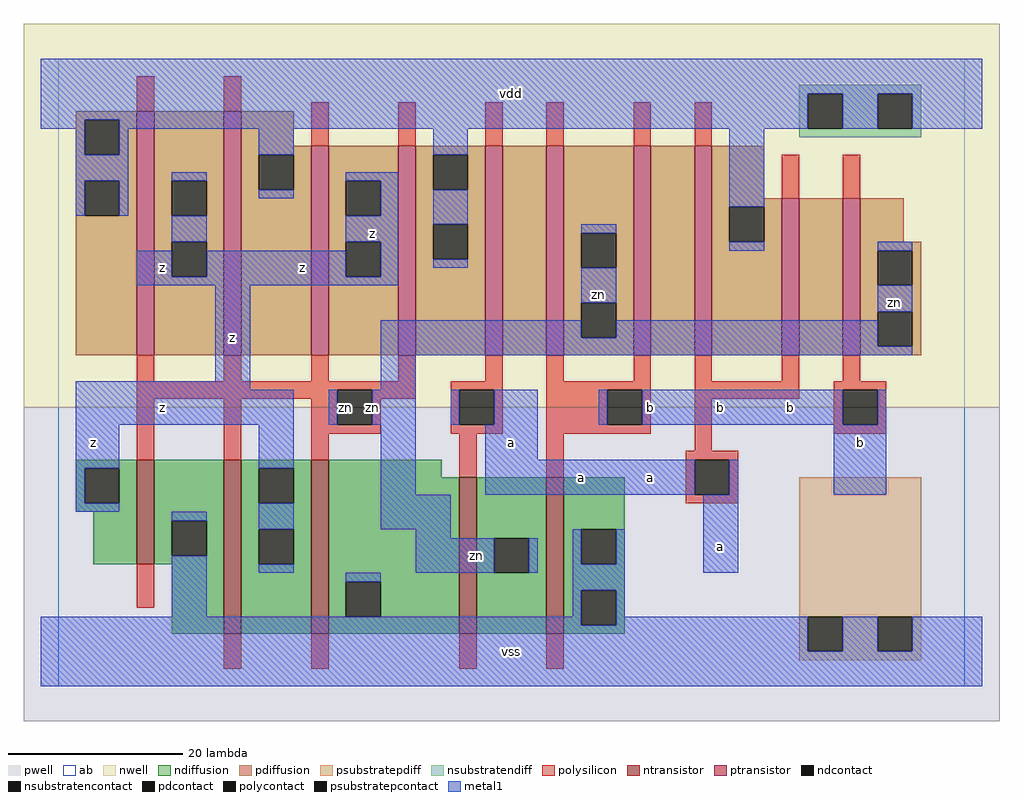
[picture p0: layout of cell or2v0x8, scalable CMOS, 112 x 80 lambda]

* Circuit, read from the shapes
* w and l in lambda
.subckt or2v0x8 a b vdd vss z zn
M1 vss zn z vss nfet w=12 l=2
M2 z zn vss vss nfet w=20 l=2 m=2
M3 zn a vss vss nfet w=18 l=2
M4 vss b zn vss nfet w=18 l=2
M5 z zn vdd vdd pfet w=28 l=2 m=2
M6 z zn vdd vdd pfet w=24 l=2 m=2
M7 n1 a vdd vdd pfet w=24 l=2
M8 zn b n1 vdd pfet w=24 l=2
M9 n2 b zn vdd pfet w=24 l=2
M10 vdd a n2 vdd pfet w=24 l=2
M11 n3 a vdd vdd pfet w=18 l=2
M12 zn b n3 vdd pfet w=18 l=2
.ends

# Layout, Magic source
magic
tech scmos
<< ab >>
rect 0 0 104 72
<< pwell >>
rect -4 -4 108 32
<< nwell >>
rect -4 32 108 76
<< polysilicon >>
rect 9 66 11 70
rect 19 66 21 70
rect 29 62 31 67
rect 39 62 41 67
rect 49 62 51 67
rect 56 62 58 67
rect 66 62 68 67
rect 73 62 75 67
rect 83 56 85 61
rect 90 56 92 61
rect 9 35 11 38
rect 19 35 21 38
rect 29 35 31 38
rect 39 35 41 38
rect 49 35 51 38
rect 9 34 41 35
rect 9 33 32 34
rect 9 26 11 33
rect 19 26 21 33
rect 29 30 32 33
rect 36 33 41 34
rect 45 34 51 35
rect 36 30 37 33
rect 29 29 37 30
rect 45 30 46 34
rect 50 30 51 34
rect 45 29 51 30
rect 56 35 58 38
rect 66 35 68 38
rect 56 34 68 35
rect 56 30 63 34
rect 67 30 68 34
rect 56 29 68 30
rect 73 35 75 38
rect 83 35 85 38
rect 90 35 92 38
rect 73 33 85 35
rect 89 34 95 35
rect 29 26 31 29
rect 9 9 11 14
rect 46 24 48 29
rect 56 24 58 29
rect 73 27 75 33
rect 89 30 90 34
rect 94 30 95 34
rect 89 29 95 30
rect 72 26 78 27
rect 72 22 73 26
rect 77 22 78 26
rect 72 21 78 22
rect 19 2 21 6
rect 29 2 31 6
rect 46 2 48 6
rect 56 2 58 6
<< ndiffusion >>
rect 2 25 9 26
rect 2 21 3 25
rect 7 21 9 25
rect 2 20 9 21
rect 4 14 9 20
rect 11 19 19 26
rect 11 15 13 19
rect 17 15 19 19
rect 11 14 19 15
rect 13 6 19 14
rect 21 25 29 26
rect 21 21 23 25
rect 27 21 29 25
rect 21 18 29 21
rect 21 14 23 18
rect 27 14 29 18
rect 21 6 29 14
rect 31 24 44 26
rect 31 12 46 24
rect 31 8 33 12
rect 37 8 46 12
rect 31 6 46 8
rect 48 17 56 24
rect 48 13 50 17
rect 54 13 56 17
rect 48 6 56 13
rect 58 18 65 24
rect 58 14 60 18
rect 64 14 65 18
rect 58 11 65 14
rect 58 7 60 11
rect 64 7 65 11
rect 58 6 65 7
<< pdiffusion >>
rect 2 65 9 66
rect 2 61 3 65
rect 7 61 9 65
rect 2 58 9 61
rect 2 54 3 58
rect 7 54 9 58
rect 2 38 9 54
rect 11 58 19 66
rect 11 54 13 58
rect 17 54 19 58
rect 11 51 19 54
rect 11 47 13 51
rect 17 47 19 51
rect 11 38 19 47
rect 21 62 27 66
rect 21 61 29 62
rect 21 57 23 61
rect 27 57 29 61
rect 21 38 29 57
rect 31 58 39 62
rect 31 54 33 58
rect 37 54 39 58
rect 31 51 39 54
rect 31 47 33 51
rect 37 47 39 51
rect 31 38 39 47
rect 41 61 49 62
rect 41 57 43 61
rect 47 57 49 61
rect 41 53 49 57
rect 41 49 43 53
rect 47 49 49 53
rect 41 38 49 49
rect 51 38 56 62
rect 58 52 66 62
rect 58 48 60 52
rect 64 48 66 52
rect 58 44 66 48
rect 58 40 60 44
rect 64 40 66 44
rect 58 38 66 40
rect 68 38 73 62
rect 75 56 81 62
rect 75 55 83 56
rect 75 51 77 55
rect 81 51 83 55
rect 75 38 83 51
rect 85 38 90 56
rect 92 51 97 56
rect 92 50 99 51
rect 92 46 94 50
rect 98 46 99 50
rect 92 43 99 46
rect 92 39 94 43
rect 98 39 99 43
rect 92 38 99 39
<< metal1 >>
rect -2 68 106 72
rect -2 65 86 68
rect -2 64 3 65
rect 2 61 3 64
rect 7 64 86 65
rect 90 64 94 68
rect 98 64 106 68
rect 7 61 8 64
rect 2 58 8 61
rect 23 61 27 64
rect 2 54 3 58
rect 7 54 8 58
rect 13 58 17 59
rect 43 61 47 64
rect 23 56 27 57
rect 33 58 39 59
rect 13 51 17 54
rect 9 47 13 50
rect 37 54 39 58
rect 33 51 39 54
rect 17 47 33 50
rect 37 47 39 51
rect 43 53 47 57
rect 77 55 81 64
rect 43 48 47 49
rect 60 52 64 53
rect 77 50 81 51
rect 94 50 98 51
rect 9 46 39 47
rect 18 35 22 46
rect 60 44 64 48
rect 2 34 22 35
rect 37 40 60 42
rect 94 43 98 46
rect 64 40 94 42
rect 37 39 94 40
rect 37 38 98 39
rect 37 34 41 38
rect 2 30 27 34
rect 31 30 32 34
rect 36 30 41 34
rect 45 30 46 34
rect 50 30 55 34
rect 62 30 63 34
rect 67 30 90 34
rect 94 30 95 34
rect 2 25 7 30
rect 2 21 3 25
rect 2 20 7 21
rect 23 25 27 30
rect 13 19 17 20
rect 13 8 17 15
rect 23 18 27 21
rect 37 22 41 30
rect 49 26 55 30
rect 49 22 73 26
rect 77 22 78 26
rect 89 22 95 30
rect 37 18 45 22
rect 23 13 27 14
rect 41 17 45 18
rect 41 13 50 17
rect 54 13 55 17
rect 59 14 60 18
rect 64 14 65 18
rect 33 12 37 13
rect 59 11 65 14
rect 74 13 78 22
rect 59 8 60 11
rect -2 7 60 8
rect 64 8 65 11
rect 64 7 86 8
rect -2 4 86 7
rect 90 4 94 8
rect 98 4 106 8
rect -2 0 106 4
<< ntransistor >>
rect 9 14 11 26
rect 19 6 21 26
rect 29 6 31 26
rect 46 6 48 24
rect 56 6 58 24
<< ptransistor >>
rect 9 38 11 66
rect 19 38 21 66
rect 29 38 31 62
rect 39 38 41 62
rect 49 38 51 62
rect 56 38 58 62
rect 66 38 68 62
rect 73 38 75 62
rect 83 38 85 56
rect 90 38 92 56
<< polycontact >>
rect 32 30 36 34
rect 46 30 50 34
rect 63 30 67 34
rect 90 30 94 34
rect 73 22 77 26
<< ndcontact >>
rect 3 21 7 25
rect 13 15 17 19
rect 23 21 27 25
rect 23 14 27 18
rect 33 8 37 12
rect 50 13 54 17
rect 60 14 64 18
rect 60 7 64 11
<< pdcontact >>
rect 3 61 7 65
rect 3 54 7 58
rect 13 54 17 58
rect 13 47 17 51
rect 23 57 27 61
rect 33 54 37 58
rect 33 47 37 51
rect 43 57 47 61
rect 43 49 47 53
rect 60 48 64 52
rect 60 40 64 44
rect 77 51 81 55
rect 94 46 98 50
rect 94 39 98 43
<< psubstratepcontact >>
rect 86 4 90 8
rect 94 4 98 8
<< nsubstratencontact >>
rect 86 64 90 68
rect 94 64 98 68
<< psubstratepdiff >>
rect 85 8 99 24
rect 85 4 86 8
rect 90 4 94 8
rect 98 4 99 8
rect 85 3 99 4
<< nsubstratendiff >>
rect 85 68 99 69
rect 85 64 86 68
rect 90 64 94 68
rect 98 64 99 68
rect 85 63 99 64
<< labels >>
rlabel polycontact 33 32 33 32 6 zn
rlabel metal1 12 32 12 32 6 z
rlabel metal1 4 28 4 28 6 z
rlabel metal1 12 48 12 48 6 z
rlabel metal1 20 40 20 40 6 z
rlabel metal1 36 52 36 52 6 z
rlabel metal1 28 48 28 48 6 z
rlabel metal1 52 4 52 4 6 vss
rlabel metal1 48 15 48 15 6 zn
rlabel metal1 60 24 60 24 6 a
rlabel metal1 52 28 52 28 6 a
rlabel metal1 36 32 36 32 6 zn
rlabel metal1 52 68 52 68 6 vdd
rlabel metal1 76 16 76 16 6 a
rlabel metal1 68 24 68 24 6 a
rlabel metal1 68 32 68 32 6 b
rlabel metal1 76 32 76 32 6 b
rlabel metal1 62 45 62 45 6 zn
rlabel metal1 92 28 92 28 6 b
rlabel metal1 84 32 84 32 6 b
rlabel metal1 96 44 96 44 6 zn
<< end >>
